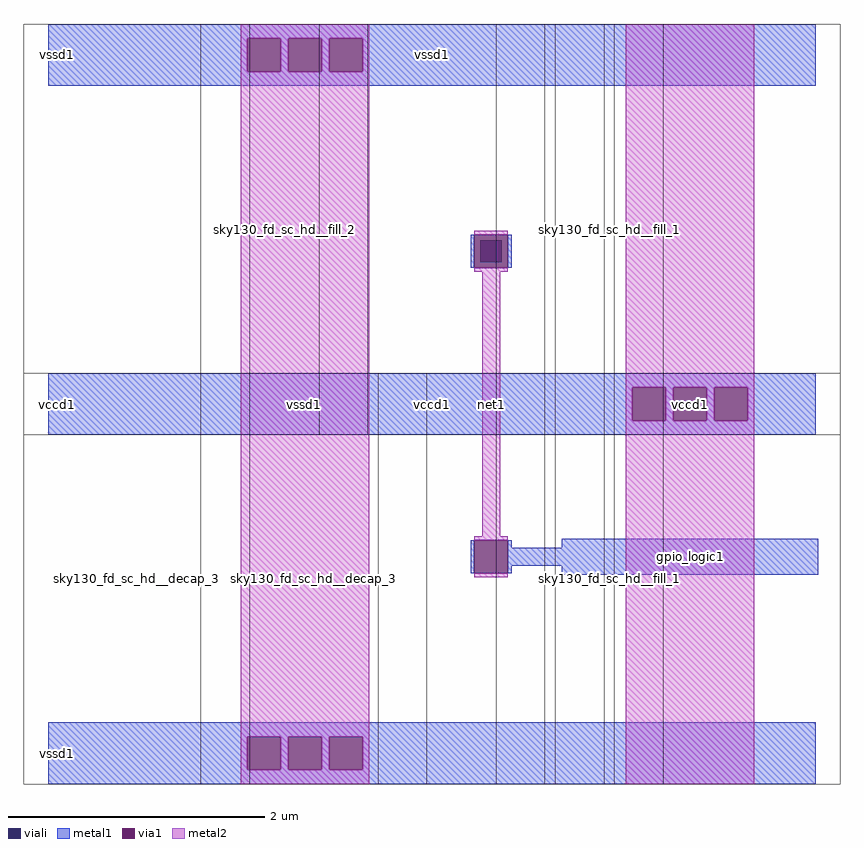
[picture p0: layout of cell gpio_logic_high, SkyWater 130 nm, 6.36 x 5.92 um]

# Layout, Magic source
magic
tech sky130A
magscale 1 2
<< viali >>
rect 673 765 707 799
<< metal1 >>
rect 0 1114 1196 1136
rect 0 1062 310 1114
rect 362 1062 374 1114
rect 426 1062 438 1114
rect 490 1062 1196 1114
rect 0 1040 1196 1062
rect 658 756 664 808
rect 716 756 722 808
rect 0 570 1196 592
rect 0 518 910 570
rect 962 518 974 570
rect 1026 518 1038 570
rect 1090 518 1196 570
rect 0 496 1196 518
rect 658 280 664 332
rect 716 320 722 332
rect 800 320 1200 334
rect 716 292 1200 320
rect 716 280 722 292
rect 800 278 1200 292
rect 0 26 1196 48
rect 0 -26 310 26
rect 362 -26 374 26
rect 426 -26 438 26
rect 490 -26 1196 26
rect 0 -48 1196 -26
<< via1 >>
rect 310 1062 362 1114
rect 374 1062 426 1114
rect 438 1062 490 1114
rect 664 799 716 808
rect 664 765 673 799
rect 673 765 707 799
rect 707 765 716 799
rect 664 756 716 765
rect 910 518 962 570
rect 974 518 1026 570
rect 1038 518 1090 570
rect 664 280 716 332
rect 310 -26 362 26
rect 374 -26 426 26
rect 438 -26 490 26
<< metal2 >>
rect 300 1114 500 1136
rect 300 1062 310 1114
rect 362 1062 374 1114
rect 426 1062 438 1114
rect 490 1062 500 1114
rect 300 26 500 1062
rect 664 808 716 814
rect 664 750 716 756
rect 676 338 704 750
rect 900 570 1100 1136
rect 900 518 910 570
rect 962 518 974 570
rect 1026 518 1038 570
rect 1090 518 1100 570
rect 664 332 716 338
rect 664 274 716 280
rect 300 -26 310 26
rect 362 -26 374 26
rect 426 -26 438 26
rect 490 -26 500 26
rect 300 -48 500 -26
rect 900 -48 1100 518
use sky130_fd_sc_hd__decap_3  FILLER_0_3
transform 1 0 276 0 1 0
box -38 -48 314 592
use sky130_fd_sc_hd__fill_2  FILLER_0_6
transform 1 0 552 0 1 0
box -38 -48 222 592
use sky130_fd_sc_hd__fill_1  FILLER_0_9
transform 1 0 828 0 1 0
box -38 -48 130 592
use sky130_fd_sc_hd__fill_2  FILLER_1_3
transform 1 0 276 0 -1 1088
box -38 -48 222 592
use sky130_fd_sc_hd__fill_1  FILLER_1_9
transform 1 0 828 0 -1 1088
box -38 -48 130 592
use sky130_fd_sc_hd__conb_1  gpio_logic_high_1
transform -1 0 736 0 -1 1088
box -38 -48 314 592
use sky130_fd_sc_hd__decap_3  PHY_EDGE_ROW_0_Left_2
transform 1 0 0 0 1 0
box -38 -48 314 592
use sky130_fd_sc_hd__decap_3  PHY_EDGE_ROW_0_Right_0
transform -1 0 1196 0 1 0
box -38 -48 314 592
use sky130_fd_sc_hd__decap_3  PHY_EDGE_ROW_1_Left_3
transform 1 0 0 0 -1 1088
box -38 -48 314 592
use sky130_fd_sc_hd__decap_3  PHY_EDGE_ROW_1_Right_1
transform -1 0 1196 0 -1 1088
box -38 -48 314 592
use sky130_fd_sc_hd__tapvpwrvgnd_1  TAP_TAPCELL_ROW_0_4
transform 1 0 736 0 1 0
box -38 -48 130 592
use sky130_fd_sc_hd__tapvpwrvgnd_1  TAP_TAPCELL_ROW_1_5
transform 1 0 736 0 -1 1088
box -38 -48 130 592
<< labels >>
flabel metal1 s 800 278 1200 334 0 FreeSans 224 0 0 0 gpio_logic1
port 0 nsew signal output
flabel metal2 s 900 -48 1100 1136 0 FreeSans 896 90 0 0 vccd1
port 1 nsew power bidirectional
flabel metal1 s 0 496 28 592 0 FreeSans 224 90 0 0 vccd1
port 1 nsew power bidirectional
flabel metal2 s 300 -48 500 1136 0 FreeSans 896 90 0 0 vssd1
port 2 nsew ground bidirectional
flabel metal1 s 0 -48 28 48 0 FreeSans 224 90 0 0 vssd1
port 2 nsew ground bidirectional
flabel metal1 s 0 1040 28 1136 0 FreeSans 224 90 0 0 vssd1
port 2 nsew ground bidirectional
rlabel metal1 598 544 598 544 0 vccd1
rlabel metal1 598 1088 598 1088 0 vssd1
rlabel metal2 690 544 690 544 0 net1
<< properties >>
string FIXED_BBOX 0 0 1200 1200
<< end >>
